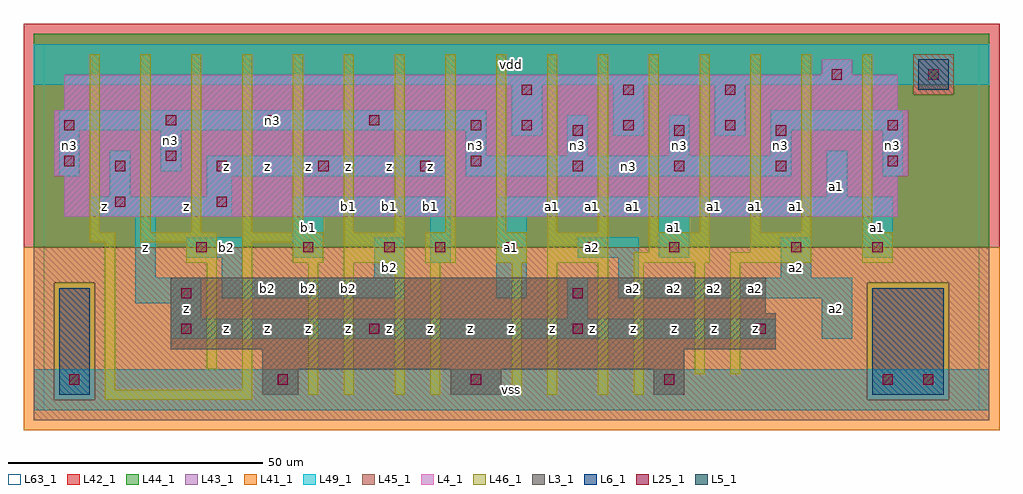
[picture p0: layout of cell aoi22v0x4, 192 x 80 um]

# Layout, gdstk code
import gdstk
lib = gdstk.Library(unit=1e-6, precision=1e-09)
def R(c, l, rs):  # rectangles x0, y0, x1, y1
    for r in rs: c.add(gdstk.rectangle(r[:2], r[2:], *l))
def A(c, l, x, y, w, h, nx, ny, dx, dy):  # array of equal rectangles
    R(c, l, [(x+i*dx, y+j*dy, x+i*dx+w, y+j*dy+h) for i in range(nx) for j in range(ny)])
L3_1 = (3, 1)
L4_1 = (4, 1)
L5_1 = (5, 1)
L6_1 = (6, 1)
L25_1 = (25, 1)
L41_1 = (41, 1)
L42_1 = (42, 1)
L43_1 = (43, 1)
L44_1 = (44, 1)
L45_1 = (45, 1)
L46_1 = (46, 1)
L49_1 = (49, 1)
L63_1 = (63, 1)

aoi22v0x4 = lib.new_cell('aoi22v0x4')
R(aoi22v0x4, L3_1, [(43,3,50,8), (80,3,90,8), (120,3,126,8), (43,8,126,12), (25,12,144,19), (25,19,142,26)])
R(aoi22v0x4, L4_1, [(4,38,168,46), (2,46,170,59), (4,59,168,66), (153,66,159,69)])
R(aoi22v0x4, L5_1, [(172,63,178,69)])
R(aoi22v0x4, L6_1, [(3,3,9,24), (3,3,9,24), (163,3,177,24), (163,3,177,24)])
A(aoi22v0x4, L25_1, 46, 5, 2, 2, 3, 1, 38, 0)
A(aoi22v0x4, L25_1, 91, 31, 2, 2, 3, 1, 16, 0)
A(aoi22v0x4, L25_1, 14, 47, 2, 2, 4, 1, 20, 0)
A(aoi22v0x4, L25_1, 104, 47, 2, 2, 3, 2, 20, 7)
A(aoi22v0x4, L25_1, 94, 55, 2, 2, 3, 2, 20, 7)
A(aoi22v0x4, L25_1, 24, 56, 2, 2, 3, 1, 20, 0)
R(aoi22v0x4, L25_1, [(5,5,7,7), (165,5,167,7), (173,5,175,7), (27,15,29,17), (64,15,66,17), (104,15,106,17), (140,15,142,17), (27,22,29,24), (104,22,106,24), (30,31,32,33), (51,31,53,33), (67,31,69,33), (77,31,79,33), (147,31,149,33), (163,31,165,33), (14,40,16,42), (34,40,36,42), (4,48,6,50), (84,48,86,50), (166,48,168,50), (24,49,26,51), (4,55,6,57), (84,55,86,57), (166,55,168,57), (155,65,157,67), (174,65,176,67)])
R(aoi22v0x4, L41_1, [(-4,-4,188,32)])
R(aoi22v0x4, L42_1, [(-4,32,188,76)])
R(aoi22v0x4, L43_1, [(3,3,9,24), (43,3,50,8), (80,3,90,8), (120,3,126,8), (163,3,177,24), (43,8,126,12), (25,12,144,19), (25,19,142,26), (4,38,168,46), (2,46,170,59), (4,59,168,66), (172,63,178,69), (153,66,159,69)])
R(aoi22v0x4, L44_1, [(2,2,10,25), (162,2,178,25), (-2,32,186,62), (-2,62,171,70), (179,62,186,70), (-2,70,186,74)])
R(aoi22v0x4, L45_1, [(-2,-2,186,2), (-2,2,2,25), (10,2,162,25), (178,2,186,25), (-2,25,186,32), (171,62,179,70)])
A(aoi22v0x4, L46_1, 9, 35, 2, 35, 15, 1, 10, 0)
R(aoi22v0x4, L46_1, [(12,2,41,4), (52,3,54,29), (59,3,61,29), (69,3,71,29), (76,3,78,29), (92,3,94,29), (99,3,101,29), (109,3,111,29), (116,3,118,29), (12,4,14,33), (39,4,41,33), (128,7,130,29), (135,7,137,29), (32,8,34,29), (28,29,34,33), (49,29,55,33), (59,29,71,35), (75,29,81,35), (89,29,95,35), (99,29,111,35), (116,29,131,31), (135,29,151,31), (161,29,167,35), (119,31,131,35), (139,31,151,35), (9,33,14,35), (19,33,34,35), (39,33,55,35), (161,35,163,70)])
A(aoi22v0x4, L49_1, 92, 54, 6, 10, 3, 1, 20, 0)
R(aoi22v0x4, L49_1, [(-2,0,186,8), (25,14,144,18), (153,14,159,22), (25,18,31,21), (103,18,107,26), (18,21,31,26), (35,22,71,26), (89,22,95,38), (113,22,159,26), (18,26,22,38), (35,26,39,30), (65,26,71,34), (113,26,117,30), (145,26,151,34), (76,29,80,38), (28,30,39,34), (49,30,55,38), (105,30,117,34), (121,30,127,38), (161,30,167,38), (9,38,37,42), (49,38,80,42), (89,38,167,42), (13,42,17,51), (32,42,37,46), (154,42,158,51), (3,46,7,55), (32,46,79,50), (83,46,147,50), (165,46,169,55), (23,47,27,55), (83,50,87,55), (103,50,107,58), (123,50,127,58), (143,50,147,55), (3,55,87,59), (143,55,169,59), (-2,64,186,72)])
R(aoi22v0x4, L63_1, [(0,0,184,72)])
aoi22v0x4.add(gdstk.Label('z', (20,32), layer=49, texttype=1))
aoi22v0x4.add(gdstk.Label('z', (12,40), layer=49, texttype=1))
aoi22v0x4.add(gdstk.Label('n3', (25,53), layer=49, texttype=1))
aoi22v0x4.add(gdstk.Label('n3', (5,52), layer=49, texttype=1))
aoi22v0x4.add(gdstk.Label('z', (28,20), layer=49, texttype=1))
aoi22v0x4.add(gdstk.Label('z', (36,16), layer=49, texttype=1))
aoi22v0x4.add(gdstk.Label('z', (44,16), layer=49, texttype=1))
aoi22v0x4.add(gdstk.Label('z', (52,16), layer=49, texttype=1))
aoi22v0x4.add(gdstk.Label('b2', (44,24), layer=49, texttype=1))
aoi22v0x4.add(gdstk.Label('b2', (52,24), layer=49, texttype=1))
aoi22v0x4.add(gdstk.Label('b2', (36,32), layer=49, texttype=1))
aoi22v0x4.add(gdstk.Label('b1', (52,36), layer=49, texttype=1))
aoi22v0x4.add(gdstk.Label('z', (28,40), layer=49, texttype=1))
aoi22v0x4.add(gdstk.Label('z', (36,48), layer=49, texttype=1))
aoi22v0x4.add(gdstk.Label('z', (44,48), layer=49, texttype=1))
aoi22v0x4.add(gdstk.Label('z', (52,48), layer=49, texttype=1))
aoi22v0x4.add(gdstk.Label('z', (60,16), layer=49, texttype=1))
aoi22v0x4.add(gdstk.Label('z', (68,16), layer=49, texttype=1))
aoi22v0x4.add(gdstk.Label('z', (76,16), layer=49, texttype=1))
aoi22v0x4.add(gdstk.Label('z', (84,16), layer=49, texttype=1))
aoi22v0x4.add(gdstk.Label('b2', (68,28), layer=49, texttype=1))
aoi22v0x4.add(gdstk.Label('b2', (60,24), layer=49, texttype=1))
aoi22v0x4.add(gdstk.Label('b1', (68,40), layer=49, texttype=1))
aoi22v0x4.add(gdstk.Label('b1', (76,40), layer=49, texttype=1))
aoi22v0x4.add(gdstk.Label('b1', (60,40), layer=49, texttype=1))
aoi22v0x4.add(gdstk.Label('z', (68,48), layer=49, texttype=1))
aoi22v0x4.add(gdstk.Label('z', (76,48), layer=49, texttype=1))
aoi22v0x4.add(gdstk.Label('n3', (85,52), layer=49, texttype=1))
aoi22v0x4.add(gdstk.Label('z', (60,48), layer=49, texttype=1))
aoi22v0x4.add(gdstk.Label('n3', (45,57), layer=49, texttype=1))
aoi22v0x4.add(gdstk.Label('vss', (92,4), layer=49, texttype=1))
aoi22v0x4.add(gdstk.Label('z', (92,16), layer=49, texttype=1))
aoi22v0x4.add(gdstk.Label('z', (100,16), layer=49, texttype=1))
aoi22v0x4.add(gdstk.Label('z', (108,16), layer=49, texttype=1))
aoi22v0x4.add(gdstk.Label('z', (116,16), layer=49, texttype=1))
aoi22v0x4.add(gdstk.Label('a2', (116,24), layer=49, texttype=1))
aoi22v0x4.add(gdstk.Label('a1', (92,32), layer=49, texttype=1))
aoi22v0x4.add(gdstk.Label('a2', (108,32), layer=49, texttype=1))
aoi22v0x4.add(gdstk.Label('a1', (100,40), layer=49, texttype=1))
aoi22v0x4.add(gdstk.Label('a1', (108,40), layer=49, texttype=1))
aoi22v0x4.add(gdstk.Label('a1', (116,40), layer=49, texttype=1))
aoi22v0x4.add(gdstk.Label('n3', (105,52), layer=49, texttype=1))
aoi22v0x4.add(gdstk.Label('vdd', (92,68), layer=49, texttype=1))
aoi22v0x4.add(gdstk.Label('z', (124,16), layer=49, texttype=1))
aoi22v0x4.add(gdstk.Label('z', (132,16), layer=49, texttype=1))
aoi22v0x4.add(gdstk.Label('z', (140,16), layer=49, texttype=1))
aoi22v0x4.add(gdstk.Label('a2', (132,24), layer=49, texttype=1))
aoi22v0x4.add(gdstk.Label('a2', (140,24), layer=49, texttype=1))
aoi22v0x4.add(gdstk.Label('a2', (148,28), layer=49, texttype=1))
aoi22v0x4.add(gdstk.Label('a2', (124,24), layer=49, texttype=1))
aoi22v0x4.add(gdstk.Label('a1', (132,40), layer=49, texttype=1))
aoi22v0x4.add(gdstk.Label('a1', (140,40), layer=49, texttype=1))
aoi22v0x4.add(gdstk.Label('a1', (148,40), layer=49, texttype=1))
aoi22v0x4.add(gdstk.Label('a1', (124,36), layer=49, texttype=1))
aoi22v0x4.add(gdstk.Label('n3', (145,52), layer=49, texttype=1))
aoi22v0x4.add(gdstk.Label('n3', (125,52), layer=49, texttype=1))
aoi22v0x4.add(gdstk.Label('n3', (115,48), layer=49, texttype=1))
aoi22v0x4.add(gdstk.Label('a2', (156,20), layer=49, texttype=1))
aoi22v0x4.add(gdstk.Label('a1', (164,36), layer=49, texttype=1))
aoi22v0x4.add(gdstk.Label('a1', (156,44), layer=49, texttype=1))
aoi22v0x4.add(gdstk.Label('n3', (167,52), layer=49, texttype=1))

lib.write_gds('aoi22v0x4.gds')
